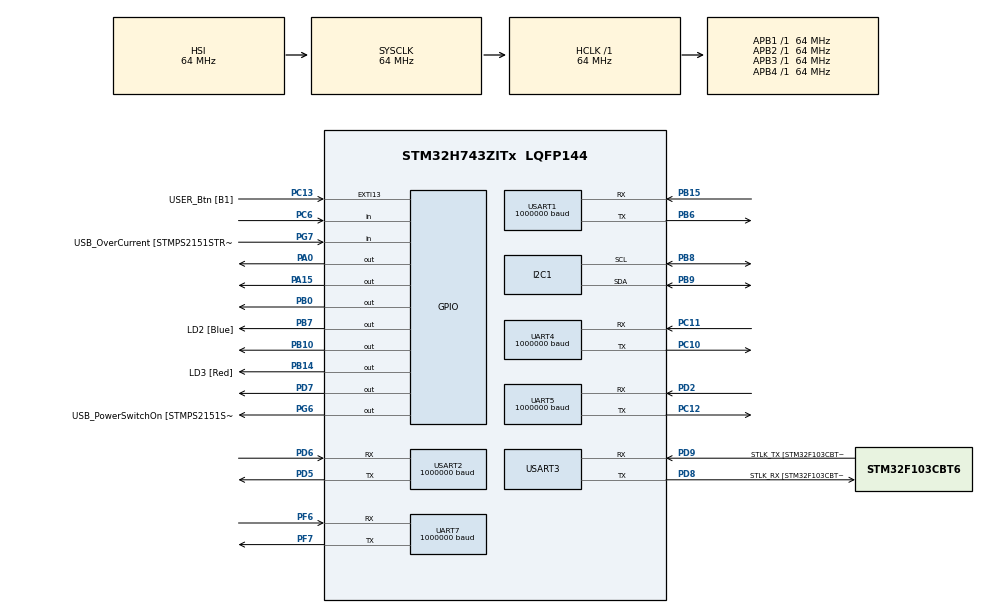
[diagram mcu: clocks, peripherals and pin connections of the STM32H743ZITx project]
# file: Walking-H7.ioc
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Mcu.Family=STM32H7
Mcu.Name=STM32H743ZITx
Mcu.Package=LQFP144
NVIC.PriorityGroup=NVIC_PRIORITYGROUP_4
PA0-WKUP.GPIO_Speed=GPIO_SPEED_FREQ_VERY_HIGH
PA0-WKUP.PinState=GPIO_PIN_SET
PA0-WKUP.Signal=GPIO_Output
PA10.GPIO_Label=USB_ID
PA10.Signal=USB_OTG_FS_ID
PA11.GPIO_Label=USB_DM
PA11.Signal=USB_OTG_FS_DM
PA12.GPIO_Label=USB_DP
PA12.Signal=USB_OTG_FS_DP
PA13.GPIO_Label=TMS
PA13.Mode=Trace_Asynchronous_SW
PA13.Signal=SYS_JTMS-SWDIO
PA14.GPIO_Label=TCK
PA14.Mode=Trace_Asynchronous_SW
PA14.Signal=SYS_JTCK-SWCLK
PA15.GPIO_Speed=GPIO_SPEED_FREQ_VERY_HIGH
PA15.PinState=GPIO_PIN_SET
PA15.Signal=GPIO_Output
PA8.GPIO_Label=USB_SOF [TP1]
PA8.Signal=USB_OTG_FS_SOF
PA9.GPIO_Label=USB_VBUS
PA9.Signal=USB_OTG_FS_VBUS
PB0.GPIO_Speed=GPIO_SPEED_FREQ_VERY_HIGH
PB0.Signal=GPIO_Output
PB10.GPIO_Speed=GPIO_SPEED_FREQ_VERY_HIGH
PB10.Signal=GPIO_Output
PB14.GPIO_Label=LD3 [Red]
PB14.Signal=GPIO_Output
PB15.Mode=Asynchronous
PB15.Signal=USART1_RX
PB3.GPIO_Label=SWO
PB3.Mode=Trace_Asynchronous_SW
PB3.Signal=SYS_JTDO-SWO
PB6.Mode=Asynchronous
PB6.Signal=USART1_TX
PB7.GPIO_Label=LD2 [Blue]
PB7.Signal=GPIO_Output
PB8.Mode=I2C
PB8.Signal=I2C1_SCL
PB9.Mode=I2C
PB9.Signal=I2C1_SDA
PC10.Mode=Asynchronous
PC10.Signal=UART4_TX
PC11.Mode=Asynchronous
PC11.Signal=UART4_RX
PC12.Mode=Asynchronous
PC12.Signal=UART5_TX
PC13.GPIO_Label=USER_Btn [B1]
PC13.Signal=GPXTI13
PC14-OSC32_IN.Signal=RCC_OSC32_IN
PC15-OSC32_OUT.Signal=RCC_OSC32_OUT
PC6.Signal=GPIO_Input
PD2.Mode=Asynchronous
PD2.Signal=UART5_RX
PD5.Mode=Asynchronous
PD5.Signal=USART2_TX
PD6.Mode=Asynchronous
PD6.Signal=USART2_RX
PD7.GPIO_Speed=GPIO_SPEED_FREQ_VERY_HIGH
PD7.Signal=GPIO_Output
PD8.GPIO_Label=STLK_RX [STM32F103CBT6_PA3]
PD8.Mode=Asynchronous
PD8.Signal=USART3_TX
PD9.GPIO_Label=STLK_TX [STM32F103CBT6_PA2]
PD9.Mode=Asynchronous
PD9.Signal=USART3_RX
PF6.Mode=Asynchronous
PF6.Signal=UART7_RX
PF7.Mode=Asynchronous
PF7.Signal=UART7_TX
PG6.GPIO_Label=USB_PowerSwitchOn [STMPS2151STR_EN]
PG6.Signal=GPIO_Output
PG7.GPIO_Label=USB_OverCurrent [STMPS2151STR_FAULT]
PG7.Signal=GPIO_Input
PH0-OSC_IN.GPIO_Label=MCO
PH0-OSC_IN.Signal=RCC_OSC_IN
PH1-OSC_OUT.Signal=RCC_OSC_OUT
ProjectManager.HeapSize=0x200
ProjectManager.StackSize=0x400
ProjectManager.TargetToolchain=SW4STM32
RCC.48MHZClocksFreq_Value=24000000
RCC.ADCFreq_Value=129000000
RCC.AHBFreq_Value=16000000
RCC.APB1CLKDivider=RCC_HCLK_DIV2
RCC.APB1Freq_Value=64000000
RCC.APB1TimFreq_Value=16000000
RCC.APB2Freq_Value=64000000
RCC.APB2TimFreq_Value=16000000
RCC.APB3Freq_Value=64000000
RCC.APB4Freq_Value=64000000
RCC.CortexFreq_Value=64000000
RCC.HCLKFreq_Value=64000000
RCC.HSE_VALUE=25000000
RCC.HSI_VALUE=64000000
RCC.LSE_VALUE=32768
RCC.PLLMUL=RCC_PLL_MUL9
RCC.PRESCALERUSB=RCC_USBCLKSOURCE_PLL_DIV1_5
RCC.SYSCLKFreq_VALUE=64000000
RCC.SYSCLKSourceVirtual=RCC_SYSCLKSOURCE_PLLCLK
RCC.USBFreq_Value=129000000
RCC.VCOOutputFreq_Value=192000000
UART4.BaudRate=1000000
UART4.WordLength=WORDLENGTH_8B
UART5.BaudRate=1000000
UART5.WordLength=WORDLENGTH_8B
UART7.BaudRate=1000000
UART7.WordLength=WORDLENGTH_8B
USART1.BaudRate=1000000
USART1.VirtualMode-Asynchronous=VM_ASYNC
USART1.WordLength=WORDLENGTH_8B
USART2.BaudRate=1000000
USART2.VirtualMode-Asynchronous=VM_ASYNC
USART2.WordLength=WORDLENGTH_8B
USART3.VirtualMode-Asynchronous=VM_ASYNC
USART3.WordLength=WORDLENGTH_8B
board=NUCLEO-H743ZI

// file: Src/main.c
/**
  ******************************************************************************
  * @file           : main.c
  * @brief          : Main program body
  ******************************************************************************
  ** This notice applies to any and all portions of this file
  * that are not between comment pairs USER CODE BEGIN and
  * USER CODE END. Other portions of this file, whether
  * inserted by the user or by software development tools
  * are owned by their respective copyright owners.
  *
  * COPYRIGHT(c) 2018 STMicroelectronics
  *
  * Redistribution and use in source and binary forms, with or without modification,
  * are permitted provided that the following conditions are met:
  *   1. Redistributions of source code must retain the above copyright notice,
  *      this list of conditions and the following disclaimer.
  *   2. Redistributions in binary form must reproduce the above copyright notice,
  *      this list of conditions and the following disclaimer in the documentation
  *      and/or other materials provided with the distribution.
  *   3. Neither the name of STMicroelectronics nor the names of its contributors
  *      may be used to endorse or promote products derived from this software
  *      without specific prior written permission.
  *
  * THIS SOFTWARE IS PROVIDED BY THE COPYRIGHT HOLDERS AND CONTRIBUTORS "AS IS"
  * AND ANY EXPRESS OR IMPLIED WARRANTIES, INCLUDING, BUT NOT LIMITED TO, THE
  * IMPLIED WARRANTIES OF MERCHANTABILITY AND FITNESS FOR A PARTICULAR PURPOSE ARE
  * DISCLAIMED. IN NO EVENT SHALL THE COPYRIGHT HOLDER OR CONTRIBUTORS BE LIABLE
  * FOR ANY DIRECT, INDIRECT, INCIDENTAL, SPECIAL, EXEMPLARY, OR CONSEQUENTIAL
  * DAMAGES (INCLUDING, BUT NOT LIMITED TO, PROCUREMENT OF SUBSTITUTE GOODS OR
  * SERVICES; LOSS OF USE, DATA, OR PROFITS; OR BUSINESS INTERRUPTION) HOWEVER
  * CAUSED AND ON ANY THEORY OF LIABILITY, WHETHER IN CONTRACT, STRICT LIABILITY,
  * OR TORT (INCLUDING NEGLIGENCE OR OTHERWISE) ARISING IN ANY WAY OUT OF THE USE
  * OF THIS SOFTWARE, EVEN IF ADVISED OF THE POSSIBILITY OF SUCH DAMAGE.
  *
  ******************************************************************************
  */
#include "main.h"
#include "stm32h7xx_hal.h"
#include "i2c.h"
#include "usart.h"
#include "gpio.h"

/* USER CODE BEGIN Includes */
/* Motor driver. */
#include "../../../Robot/include/Motors/Dynamixel_AX-12A/Dynamixel_AX-12A.h"
#include "../../../Robot/include/Motors/Dynamixel_AX-12A/Dynamixel_AX-12A.c"

/* Controls */
#include <math.h>
#include "../../../../soccer-control/PID.h"  // Control routines & helpers
#include "../../../../soccer-control/rtwtypes.h"  // Type definitions from auto-gen code
//#include "../../../../soccer-control/angles.h"  // Joint trajectories

/* Other */
#include <stdio.h>
#include <errno.h>
#include <sys/unistd.h> // STDOUT_FILENO, STDERR_FILENO

/* USER CODE END Includes */

/* USER CODE BEGIN PV */
/* Private variables ---------------------------------------------------------*/
//extern const double MOTORANGLES[DIM][SIZE];
const int DIM = 16;
const int SIZE = 400;
const double MOTORANGLES[14][400] = {0};

enum motorNames {MOTOR1, MOTOR2, MOTOR3, MOTOR4, MOTOR5,
					   MOTOR6, MOTOR7, MOTOR8, MOTOR9, MOTOR10,
					   MOTOR11, MOTOR12, MOTOR13, MOTOR14, MOTOR15,
					   MOTOR16, MOTOR17, MOTOR18
};

const double PI = M_PI; // From math.h

Dynamixel_HandleTypeDef Motor1;
Dynamixel_HandleTypeDef Motor2;
Dynamixel_HandleTypeDef Motor3;
Dynamixel_HandleTypeDef Motor4;
Dynamixel_HandleTypeDef Motor5;
Dynamixel_HandleTypeDef Motor6;
Dynamixel_HandleTypeDef Motor7;
Dynamixel_HandleTypeDef Motor8;
Dynamixel_HandleTypeDef Motor9;
Dynamixel_HandleTypeDef Motor10;
Dynamixel_HandleTypeDef Motor11;
Dynamixel_HandleTypeDef Motor12;
Dynamixel_HandleTypeDef Motor13;
Dynamixel_HandleTypeDef Motor14;
Dynamixel_HandleTypeDef Motor15;
Dynamixel_HandleTypeDef Motor16;
Dynamixel_HandleTypeDef Motor17;
Dynamixel_HandleTypeDef Motor18;

/* USER CODE END PV */

void SystemClock_Config(void);

/* USER CODE BEGIN PFP */
/* Private function prototypes -----------------------------------------------*/

/* USER CODE END PFP */

int main(void)
{

  /* MCU Configuration----------------------------------------------------------*/

  /* Reset of all peripherals, Initializes the Flash interface and the Systick. */
  HAL_Init();

  /* Configure the system clock */
  SystemClock_Config();

  /* Initialize all configured peripherals */
  MX_GPIO_Init();
  MX_UART7_Init();
  MX_UART4_Init();
  MX_USART1_UART_Init();
  MX_USART2_UART_Init();
  MX_UART5_Init();
  MX_I2C1_Init();
  MX_USART3_UART_Init();

  /* USER CODE BEGIN 2 */
  Dynamixel_Init(&Motor1, 1, &huart2, GPIOD, GPIO_PIN_7);
  Dynamixel_Init(&Motor2, 2, &huart2, GPIOD, GPIO_PIN_7);
  Dynamixel_Init(&Motor3, 3, &huart2, GPIOD, GPIO_PIN_7);
  Dynamixel_Init(&Motor4, 4, &huart1, GPIOB, GPIO_PIN_10);
  Dynamixel_Init(&Motor5, 5, &huart1, GPIOB, GPIO_PIN_10);
  Dynamixel_Init(&Motor6, 6, &huart1, GPIOB, GPIO_PIN_10);
  Dynamixel_Init(&Motor7, 7, &huart7, GPIOA, GPIO_PIN_15);
  Dynamixel_Init(&Motor8, 8, &huart7, GPIOA, GPIO_PIN_15);
  Dynamixel_Init(&Motor9, 9, &huart7, GPIOA, GPIO_PIN_15);
  Dynamixel_Init(&Motor10, 10, &huart5, GPIOB, GPIO_PIN_0);
  Dynamixel_Init(&Motor11, 11, &huart5, GPIOB, GPIO_PIN_0);
  Dynamixel_Init(&Motor12, 12, &huart5, GPIOB, GPIO_PIN_0);
  Dynamixel_Init(&Motor13, 13, &huart4, GPIOA, GPIO_PIN_0);
  Dynamixel_Init(&Motor14, 14, &huart4, GPIOA, GPIO_PIN_0);
  Dynamixel_Init(&Motor15, 15, &huart4, GPIOA, GPIO_PIN_0);
  Dynamixel_Init(&Motor16, 16, &huart4, GPIOA, GPIO_PIN_0);
  Dynamixel_Init(&Motor17, 17, &huart4, GPIOA, GPIO_PIN_0);
  Dynamixel_Init(&Motor18, 18, &huart4, GPIOA, GPIO_PIN_0);

  Dynamixel_HandleTypeDef* arrDynamixel[18];
  arrDynamixel[0] = &Motor1;
  arrDynamixel[1] = &Motor2;
  arrDynamixel[2] = &Motor3;
  arrDynamixel[3] = &Motor4;
  arrDynamixel[4] = &Motor5;
  arrDynamixel[5] = &Motor6;
  arrDynamixel[6] = &Motor7;
  arrDynamixel[7] = &Motor8;
  arrDynamixel[8] = &Motor9;
  arrDynamixel[9] = &Motor10;
  arrDynamixel[10] = &Motor11;
  arrDynamixel[11] = &Motor12;
  arrDynamixel[12] = &Motor13;
  arrDynamixel[13] = &Motor14;
  arrDynamixel[14] = &Motor15;
  arrDynamixel[15] = &Motor16;
  arrDynamixel[16] = &Motor17;
  arrDynamixel[17] = &Motor18;

  for(int i = 0; i < 18; i++){
	  Dynamixel_SetGoalVelocity(arrDynamixel[i], 100);
	  Dynamixel_SetCWComplianceSlope(arrDynamixel[i], 4);
	  Dynamixel_SetCCWComplianceSlope(arrDynamixel[i], 4);
  }
  /* USER CODE END 2 */

  /* Infinite loop */
  while (1){

  /* USER CODE BEGIN 3 */

	  for(int j = 0; j < SIZE; j ++){
		  for(int i = MOTOR1; i <= MOTOR12; i++){ // NB: i begins at 0 (i.e. Motor1 corresponds to i = 0)
			  switch(i){
				  case MOTOR1:	  Dynamixel_SetGoalPosition(arrDynamixel[i], -1*MOTORANGLES[i][j]*180/PI + 150 - 1);
								  break;
				  case MOTOR2:	  Dynamixel_SetGoalPosition(arrDynamixel[i], -1*MOTORANGLES[i][j]*180/PI + 150 + 3);
								  break;
				  case MOTOR3:	  Dynamixel_SetGoalPosition(arrDynamixel[i], -1*MOTORANGLES[i][j]*180/PI + 150 + 1);
								  break;
				  case MOTOR4:	  Dynamixel_SetGoalPosition(arrDynamixel[i], MOTORANGLES[i][j]*180/PI + 150 + 2);
								  break;
				  case MOTOR5:	  Dynamixel_SetGoalPosition(arrDynamixel[i], MOTORANGLES[i][j]*180/PI + 150 - 0);
								  break;
				  case MOTOR6:	  Dynamixel_SetGoalPosition(arrDynamixel[i], -1*MOTORANGLES[i][j]*180/PI + 150 + 0);
								  break;
				  case MOTOR7:	  Dynamixel_SetGoalPosition(arrDynamixel[i], MOTORANGLES[i][j]*180/PI + 150 + 0);
								  break;
				  case MOTOR8:	  Dynamixel_SetGoalPosition(arrDynamixel[i], MOTORANGLES[i][j]*180/PI + 150 - 3);
								  break;
				  case MOTOR9:	  Dynamixel_SetGoalPosition(arrDynamixel[i], -1*MOTORANGLES[i][j]*180/PI + 150 - 0);
								  break;
				  case MOTOR10:	  Dynamixel_SetGoalPosition(arrDynamixel[i], MOTORANGLES[i][j]*180/PI + 150 + 4);
								  break;
				  case MOTOR11:   Dynamixel_SetGoalPosition(arrDynamixel[i], MOTORANGLES[i][j]*180/PI + 150 + 1);
								  break;
				  case MOTOR12:	  Dynamixel_SetGoalPosition(arrDynamixel[i], -1*MOTORANGLES[i][j]*180/PI + 150 + 3);
								  break;
			  }
		  }
		  HAL_Delay(10); // Default from Lukas: 10
	  }
  }
  /* USER CODE END 3 */

}

void SystemClock_Config(void)
{

  RCC_OscInitTypeDef RCC_OscInitStruct;
  RCC_ClkInitTypeDef RCC_ClkInitStruct;
  RCC_PeriphCLKInitTypeDef PeriphClkInitStruct;

    /**Supply configuration update enable
    */
  MODIFY_REG(PWR->CR3, PWR_CR3_SCUEN, 0);

    /**Configure the main internal regulator output voltage
    */
  __HAL_PWR_VOLTAGESCALING_CONFIG(PWR_REGULATOR_VOLTAGE_SCALE1);

  while ((PWR->D3CR & (PWR_D3CR_VOSRDY)) != PWR_D3CR_VOSRDY)
  {

  }
    /**Initializes the CPU, AHB and APB busses clocks
    */
  RCC_OscInitStruct.OscillatorType = RCC_OSCILLATORTYPE_HSI;
  RCC_OscInitStruct.HSIState = RCC_HSI_DIV1;
  RCC_OscInitStruct.HSICalibrationValue = 16;
  RCC_OscInitStruct.PLL.PLLState = RCC_PLL_NONE;
  if (HAL_RCC_OscConfig(&RCC_OscInitStruct) != HAL_OK)
  {
    _Error_Handler(__FILE__, __LINE__);
  }

    /**Initializes the CPU, AHB and APB busses clocks
    */
  RCC_ClkInitStruct.ClockType = RCC_CLOCKTYPE_HCLK|RCC_CLOCKTYPE_SYSCLK
                              |RCC_CLOCKTYPE_PCLK1|RCC_CLOCKTYPE_PCLK2
                              |RCC_CLOCKTYPE_D3PCLK1|RCC_CLOCKTYPE_D1PCLK1;
  RCC_ClkInitStruct.SYSCLKSource = RCC_SYSCLKSOURCE_HSI;
  RCC_ClkInitStruct.SYSCLKDivider = RCC_SYSCLK_DIV1;
  RCC_ClkInitStruct.AHBCLKDivider = RCC_HCLK_DIV1;
  RCC_ClkInitStruct.APB3CLKDivider = RCC_APB3_DIV1;
  RCC_ClkInitStruct.APB1CLKDivider = RCC_APB1_DIV1;
  RCC_ClkInitStruct.APB2CLKDivider = RCC_APB2_DIV1;
  RCC_ClkInitStruct.APB4CLKDivider = RCC_APB4_DIV1;

  if (HAL_RCC_ClockConfig(&RCC_ClkInitStruct, FLASH_LATENCY_0) != HAL_OK)
  {
    _Error_Handler(__FILE__, __LINE__);
  }

  PeriphClkInitStruct.PeriphClockSelection = RCC_PERIPHCLK_USART3|RCC_PERIPHCLK_USART2
                              |RCC_PERIPHCLK_UART4|RCC_PERIPHCLK_UART7
                              |RCC_PERIPHCLK_USART1|RCC_PERIPHCLK_UART5
                              |RCC_PERIPHCLK_I2C1;
  PeriphClkInitStruct.Usart234578ClockSelection = RCC_USART234578CLKSOURCE_D2PCLK1;
  PeriphClkInitStruct.Usart16ClockSelection = RCC_USART16CLKSOURCE_D2PCLK2;
  PeriphClkInitStruct.I2c123ClockSelection = RCC_I2C123CLKSOURCE_D2PCLK1;
  if (HAL_RCCEx_PeriphCLKConfig(&PeriphClkInitStruct) != HAL_OK)
  {
    _Error_Handler(__FILE__, __LINE__);
  }

    /**Configure the Systick interrupt time
    */
  HAL_SYSTICK_Config(SystemCoreClock/1000);

    /**Configure the Systick
    */
  HAL_SYSTICK_CLKSourceConfig(SYSTICK_CLKSOURCE_HCLK);

  /* SysTick_IRQn interrupt configuration */
  HAL_NVIC_SetPriority(SysTick_IRQn, 0, 0);
}

void _Error_Handler(char *file, int line)
{
  while(1)
  {
  }
}

/************************ (C) COPYRIGHT STMicroelectronics *****END OF FILE****/
